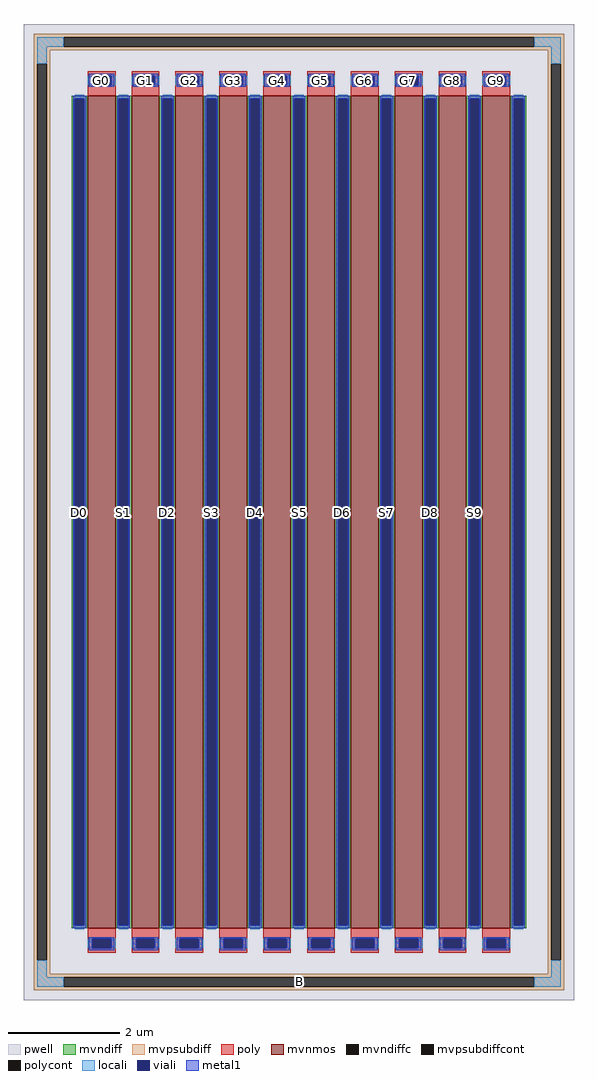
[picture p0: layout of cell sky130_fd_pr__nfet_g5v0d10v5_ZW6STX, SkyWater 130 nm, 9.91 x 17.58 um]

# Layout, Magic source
magic
tech sky130A
magscale 1 2
<< pwell >>
rect -991 -1758 991 1758
<< mvnmos >>
rect -761 -1500 -661 1500
rect -603 -1500 -503 1500
rect -445 -1500 -345 1500
rect -287 -1500 -187 1500
rect -129 -1500 -29 1500
rect 29 -1500 129 1500
rect 187 -1500 287 1500
rect 345 -1500 445 1500
rect 503 -1500 603 1500
rect 661 -1500 761 1500
<< mvndiff >>
rect -819 1488 -761 1500
rect -819 -1488 -807 1488
rect -773 -1488 -761 1488
rect -819 -1500 -761 -1488
rect -661 1488 -603 1500
rect -661 -1488 -649 1488
rect -615 -1488 -603 1488
rect -661 -1500 -603 -1488
rect -503 1488 -445 1500
rect -503 -1488 -491 1488
rect -457 -1488 -445 1488
rect -503 -1500 -445 -1488
rect -345 1488 -287 1500
rect -345 -1488 -333 1488
rect -299 -1488 -287 1488
rect -345 -1500 -287 -1488
rect -187 1488 -129 1500
rect -187 -1488 -175 1488
rect -141 -1488 -129 1488
rect -187 -1500 -129 -1488
rect -29 1488 29 1500
rect -29 -1488 -17 1488
rect 17 -1488 29 1488
rect -29 -1500 29 -1488
rect 129 1488 187 1500
rect 129 -1488 141 1488
rect 175 -1488 187 1488
rect 129 -1500 187 -1488
rect 287 1488 345 1500
rect 287 -1488 299 1488
rect 333 -1488 345 1488
rect 287 -1500 345 -1488
rect 445 1488 503 1500
rect 445 -1488 457 1488
rect 491 -1488 503 1488
rect 445 -1500 503 -1488
rect 603 1488 661 1500
rect 603 -1488 615 1488
rect 649 -1488 661 1488
rect 603 -1500 661 -1488
rect 761 1488 819 1500
rect 761 -1488 773 1488
rect 807 -1488 819 1488
rect 761 -1500 819 -1488
<< mvndiffc >>
rect -807 -1488 -773 1488
rect -649 -1488 -615 1488
rect -491 -1488 -457 1488
rect -333 -1488 -299 1488
rect -175 -1488 -141 1488
rect -17 -1488 17 1488
rect 141 -1488 175 1488
rect 299 -1488 333 1488
rect 457 -1488 491 1488
rect 615 -1488 649 1488
rect 773 -1488 807 1488
<< mvpsubdiff >>
rect -955 1710 955 1722
rect -955 1676 -847 1710
rect 847 1676 955 1710
rect -955 1664 955 1676
rect -955 1614 -897 1664
rect -955 -1614 -943 1614
rect -909 -1614 -897 1614
rect 897 1614 955 1664
rect -955 -1664 -897 -1614
rect 897 -1614 909 1614
rect 943 -1614 955 1614
rect 897 -1664 955 -1614
rect -955 -1676 955 -1664
rect -955 -1710 -847 -1676
rect 847 -1710 955 -1676
rect -955 -1722 955 -1710
<< mvpsubdiffcont >>
rect -847 1676 847 1710
rect -943 -1614 -909 1614
rect 909 -1614 943 1614
rect -847 -1710 847 -1676
<< poly >>
rect -761 1572 -661 1588
rect -761 1538 -745 1572
rect -677 1538 -661 1572
rect -761 1500 -661 1538
rect -603 1572 -503 1588
rect -603 1538 -587 1572
rect -519 1538 -503 1572
rect -603 1500 -503 1538
rect -445 1572 -345 1588
rect -445 1538 -429 1572
rect -361 1538 -345 1572
rect -445 1500 -345 1538
rect -287 1572 -187 1588
rect -287 1538 -271 1572
rect -203 1538 -187 1572
rect -287 1500 -187 1538
rect -129 1572 -29 1588
rect -129 1538 -113 1572
rect -45 1538 -29 1572
rect -129 1500 -29 1538
rect 29 1572 129 1588
rect 29 1538 45 1572
rect 113 1538 129 1572
rect 29 1500 129 1538
rect 187 1572 287 1588
rect 187 1538 203 1572
rect 271 1538 287 1572
rect 187 1500 287 1538
rect 345 1572 445 1588
rect 345 1538 361 1572
rect 429 1538 445 1572
rect 345 1500 445 1538
rect 503 1572 603 1588
rect 503 1538 519 1572
rect 587 1538 603 1572
rect 503 1500 603 1538
rect 661 1572 761 1588
rect 661 1538 677 1572
rect 745 1538 761 1572
rect 661 1500 761 1538
rect -761 -1538 -661 -1500
rect -761 -1572 -745 -1538
rect -677 -1572 -661 -1538
rect -761 -1588 -661 -1572
rect -603 -1538 -503 -1500
rect -603 -1572 -587 -1538
rect -519 -1572 -503 -1538
rect -603 -1588 -503 -1572
rect -445 -1538 -345 -1500
rect -445 -1572 -429 -1538
rect -361 -1572 -345 -1538
rect -445 -1588 -345 -1572
rect -287 -1538 -187 -1500
rect -287 -1572 -271 -1538
rect -203 -1572 -187 -1538
rect -287 -1588 -187 -1572
rect -129 -1538 -29 -1500
rect -129 -1572 -113 -1538
rect -45 -1572 -29 -1538
rect -129 -1588 -29 -1572
rect 29 -1538 129 -1500
rect 29 -1572 45 -1538
rect 113 -1572 129 -1538
rect 29 -1588 129 -1572
rect 187 -1538 287 -1500
rect 187 -1572 203 -1538
rect 271 -1572 287 -1538
rect 187 -1588 287 -1572
rect 345 -1538 445 -1500
rect 345 -1572 361 -1538
rect 429 -1572 445 -1538
rect 345 -1588 445 -1572
rect 503 -1538 603 -1500
rect 503 -1572 519 -1538
rect 587 -1572 603 -1538
rect 503 -1588 603 -1572
rect 661 -1538 761 -1500
rect 661 -1572 677 -1538
rect 745 -1572 761 -1538
rect 661 -1588 761 -1572
<< polycont >>
rect -745 1538 -677 1572
rect -587 1538 -519 1572
rect -429 1538 -361 1572
rect -271 1538 -203 1572
rect -113 1538 -45 1572
rect 45 1538 113 1572
rect 203 1538 271 1572
rect 361 1538 429 1572
rect 519 1538 587 1572
rect 677 1538 745 1572
rect -745 -1572 -677 -1538
rect -587 -1572 -519 -1538
rect -429 -1572 -361 -1538
rect -271 -1572 -203 -1538
rect -113 -1572 -45 -1538
rect 45 -1572 113 -1538
rect 203 -1572 271 -1538
rect 361 -1572 429 -1538
rect 519 -1572 587 -1538
rect 677 -1572 745 -1538
<< locali >>
rect -943 1676 -847 1710
rect 847 1676 943 1710
rect -943 1614 -909 1676
rect 909 1614 943 1676
rect -761 1538 -745 1572
rect -677 1538 -661 1572
rect -603 1538 -587 1572
rect -519 1538 -503 1572
rect -445 1538 -429 1572
rect -361 1538 -345 1572
rect -287 1538 -271 1572
rect -203 1538 -187 1572
rect -129 1538 -113 1572
rect -45 1538 -29 1572
rect 29 1538 45 1572
rect 113 1538 129 1572
rect 187 1538 203 1572
rect 271 1538 287 1572
rect 345 1538 361 1572
rect 429 1538 445 1572
rect 503 1538 519 1572
rect 587 1538 603 1572
rect 661 1538 677 1572
rect 745 1538 761 1572
rect -807 1488 -773 1504
rect -807 -1504 -773 -1488
rect -649 1488 -615 1504
rect -649 -1504 -615 -1488
rect -491 1488 -457 1504
rect -491 -1504 -457 -1488
rect -333 1488 -299 1504
rect -333 -1504 -299 -1488
rect -175 1488 -141 1504
rect -175 -1504 -141 -1488
rect -17 1488 17 1504
rect -17 -1504 17 -1488
rect 141 1488 175 1504
rect 141 -1504 175 -1488
rect 299 1488 333 1504
rect 299 -1504 333 -1488
rect 457 1488 491 1504
rect 457 -1504 491 -1488
rect 615 1488 649 1504
rect 615 -1504 649 -1488
rect 773 1488 807 1504
rect 773 -1504 807 -1488
rect -761 -1572 -745 -1538
rect -677 -1572 -661 -1538
rect -603 -1572 -587 -1538
rect -519 -1572 -503 -1538
rect -445 -1572 -429 -1538
rect -361 -1572 -345 -1538
rect -287 -1572 -271 -1538
rect -203 -1572 -187 -1538
rect -129 -1572 -113 -1538
rect -45 -1572 -29 -1538
rect 29 -1572 45 -1538
rect 113 -1572 129 -1538
rect 187 -1572 203 -1538
rect 271 -1572 287 -1538
rect 345 -1572 361 -1538
rect 429 -1572 445 -1538
rect 503 -1572 519 -1538
rect 587 -1572 603 -1538
rect 661 -1572 677 -1538
rect 745 -1572 761 -1538
rect -943 -1676 -909 -1614
rect 909 -1676 943 -1614
rect -943 -1710 -847 -1676
rect 847 -1710 943 -1676
<< viali >>
rect -745 1538 -677 1572
rect -587 1538 -519 1572
rect -429 1538 -361 1572
rect -271 1538 -203 1572
rect -113 1538 -45 1572
rect 45 1538 113 1572
rect 203 1538 271 1572
rect 361 1538 429 1572
rect 519 1538 587 1572
rect 677 1538 745 1572
rect -807 -1488 -773 1488
rect -649 -1488 -615 1488
rect -491 -1488 -457 1488
rect -333 -1488 -299 1488
rect -175 -1488 -141 1488
rect -17 -1488 17 1488
rect 141 -1488 175 1488
rect 299 -1488 333 1488
rect 457 -1488 491 1488
rect 615 -1488 649 1488
rect 773 -1488 807 1488
rect -745 -1572 -677 -1538
rect -587 -1572 -519 -1538
rect -429 -1572 -361 -1538
rect -271 -1572 -203 -1538
rect -113 -1572 -45 -1538
rect 45 -1572 113 -1538
rect 203 -1572 271 -1538
rect 361 -1572 429 -1538
rect 519 -1572 587 -1538
rect 677 -1572 745 -1538
<< metal1 >>
rect -757 1572 -665 1578
rect -757 1538 -745 1572
rect -677 1538 -665 1572
rect -757 1532 -665 1538
rect -599 1572 -507 1578
rect -599 1538 -587 1572
rect -519 1538 -507 1572
rect -599 1532 -507 1538
rect -441 1572 -349 1578
rect -441 1538 -429 1572
rect -361 1538 -349 1572
rect -441 1532 -349 1538
rect -283 1572 -191 1578
rect -283 1538 -271 1572
rect -203 1538 -191 1572
rect -283 1532 -191 1538
rect -125 1572 -33 1578
rect -125 1538 -113 1572
rect -45 1538 -33 1572
rect -125 1532 -33 1538
rect 33 1572 125 1578
rect 33 1538 45 1572
rect 113 1538 125 1572
rect 33 1532 125 1538
rect 191 1572 283 1578
rect 191 1538 203 1572
rect 271 1538 283 1572
rect 191 1532 283 1538
rect 349 1572 441 1578
rect 349 1538 361 1572
rect 429 1538 441 1572
rect 349 1532 441 1538
rect 507 1572 599 1578
rect 507 1538 519 1572
rect 587 1538 599 1572
rect 507 1532 599 1538
rect 665 1572 757 1578
rect 665 1538 677 1572
rect 745 1538 757 1572
rect 665 1532 757 1538
rect -813 1488 -767 1500
rect -813 -1488 -807 1488
rect -773 -1488 -767 1488
rect -813 -1500 -767 -1488
rect -655 1488 -609 1500
rect -655 -1488 -649 1488
rect -615 -1488 -609 1488
rect -655 -1500 -609 -1488
rect -497 1488 -451 1500
rect -497 -1488 -491 1488
rect -457 -1488 -451 1488
rect -497 -1500 -451 -1488
rect -339 1488 -293 1500
rect -339 -1488 -333 1488
rect -299 -1488 -293 1488
rect -339 -1500 -293 -1488
rect -181 1488 -135 1500
rect -181 -1488 -175 1488
rect -141 -1488 -135 1488
rect -181 -1500 -135 -1488
rect -23 1488 23 1500
rect -23 -1488 -17 1488
rect 17 -1488 23 1488
rect -23 -1500 23 -1488
rect 135 1488 181 1500
rect 135 -1488 141 1488
rect 175 -1488 181 1488
rect 135 -1500 181 -1488
rect 293 1488 339 1500
rect 293 -1488 299 1488
rect 333 -1488 339 1488
rect 293 -1500 339 -1488
rect 451 1488 497 1500
rect 451 -1488 457 1488
rect 491 -1488 497 1488
rect 451 -1500 497 -1488
rect 609 1488 655 1500
rect 609 -1488 615 1488
rect 649 -1488 655 1488
rect 609 -1500 655 -1488
rect 767 1488 813 1500
rect 767 -1488 773 1488
rect 807 -1488 813 1488
rect 767 -1500 813 -1488
rect -757 -1538 -665 -1532
rect -757 -1572 -745 -1538
rect -677 -1572 -665 -1538
rect -757 -1578 -665 -1572
rect -599 -1538 -507 -1532
rect -599 -1572 -587 -1538
rect -519 -1572 -507 -1538
rect -599 -1578 -507 -1572
rect -441 -1538 -349 -1532
rect -441 -1572 -429 -1538
rect -361 -1572 -349 -1538
rect -441 -1578 -349 -1572
rect -283 -1538 -191 -1532
rect -283 -1572 -271 -1538
rect -203 -1572 -191 -1538
rect -283 -1578 -191 -1572
rect -125 -1538 -33 -1532
rect -125 -1572 -113 -1538
rect -45 -1572 -33 -1538
rect -125 -1578 -33 -1572
rect 33 -1538 125 -1532
rect 33 -1572 45 -1538
rect 113 -1572 125 -1538
rect 33 -1578 125 -1572
rect 191 -1538 283 -1532
rect 191 -1572 203 -1538
rect 271 -1572 283 -1538
rect 191 -1578 283 -1572
rect 349 -1538 441 -1532
rect 349 -1572 361 -1538
rect 429 -1572 441 -1538
rect 349 -1578 441 -1572
rect 507 -1538 599 -1532
rect 507 -1572 519 -1538
rect 587 -1572 599 -1538
rect 507 -1578 599 -1572
rect 665 -1538 757 -1532
rect 665 -1572 677 -1538
rect 745 -1572 757 -1538
rect 665 -1578 757 -1572
<< labels >>
rlabel mvpsubdiffcont 0 -1693 0 -1693 0 B
port 1 nsew
rlabel mvndiffc -790 0 -790 0 0 D0
port 2 nsew
rlabel polycont -711 1555 -711 1555 0 G0
port 3 nsew
rlabel mvndiffc -632 0 -632 0 0 S1
port 4 nsew
rlabel polycont -553 1555 -553 1555 0 G1
port 5 nsew
rlabel mvndiffc -474 0 -474 0 0 D2
port 6 nsew
rlabel polycont -395 1555 -395 1555 0 G2
port 7 nsew
rlabel mvndiffc -316 0 -316 0 0 S3
port 8 nsew
rlabel polycont -237 1555 -237 1555 0 G3
port 9 nsew
rlabel mvndiffc -158 0 -158 0 0 D4
port 10 nsew
rlabel polycont -79 1555 -79 1555 0 G4
port 11 nsew
rlabel mvndiffc 0 0 0 0 0 S5
port 12 nsew
rlabel polycont 79 1555 79 1555 0 G5
port 13 nsew
rlabel mvndiffc 158 0 158 0 0 D6
port 14 nsew
rlabel polycont 237 1555 237 1555 0 G6
port 15 nsew
rlabel mvndiffc 316 0 316 0 0 S7
port 16 nsew
rlabel polycont 395 1555 395 1555 0 G7
port 17 nsew
rlabel mvndiffc 474 0 474 0 0 D8
port 18 nsew
rlabel polycont 553 1555 553 1555 0 G8
port 19 nsew
rlabel mvndiffc 632 0 632 0 0 S9
port 20 nsew
rlabel polycont 711 1555 711 1555 0 G9
port 21 nsew
<< properties >>
string FIXED_BBOX -926 -1693 926 1693
string gencell sky130_fd_pr__nfet_g5v0d10v5
string library sky130
string parameters w 15 l 0.5 m 1 nf 10 diffcov 100 polycov 100 guard 1 glc 1 grc 1 gtc 1 gbc 1 tbcov 100 rlcov 100 topc 1 botc 1 poverlap 0 doverlap 1 lmin 0.50 wmin 0.42 class mosfet compatible {sky130_fd_pr__nfet_01v8 sky130_fd_pr__nfet_01v8_lvt  sky130_fd_bs_flash__special_sonosfet_star  sky130_fd_pr__nfet_g5v0d10v5 sky130_fd_pr__nfet_05v0_nvt  sky130_fd_pr__nfet_03v3_nvt} full_metal 1 conn_gates 0 viasrc 100 viadrn 100 viagate 100 viagb 0 viagr 0 viagl 0 viagt 0 doports 1
<< end >>
